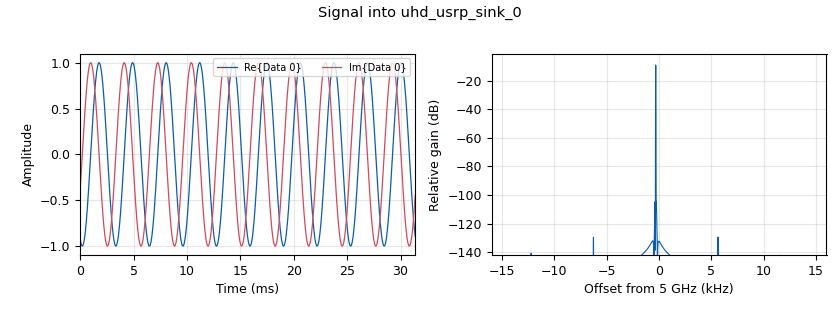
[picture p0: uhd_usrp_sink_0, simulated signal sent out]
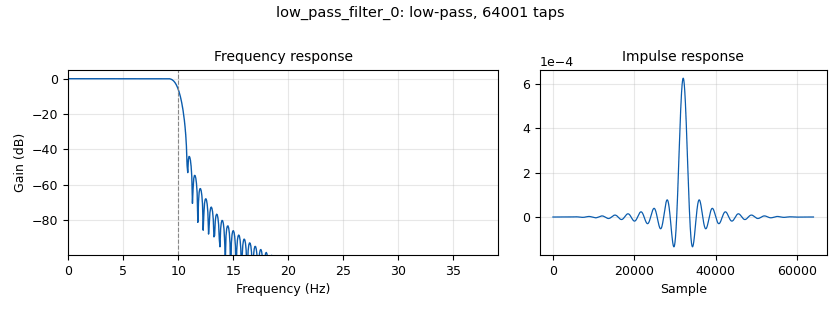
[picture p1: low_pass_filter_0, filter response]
options:
  parameters:
    generate_options: qt_gui
    id: Mugesn
    output_language: python
    title: Not titled yet
  states: {}

blocks:
- name: freq
  id: variable_qtgui_range
  parameters:
    start: 1e9
    step: 500e6
    stop: 8e9
    value: 5e9
  states: {}
- name: freq1
  id: variable_qtgui_range
  parameters:
    start: 1e9
    step: 500e6
    stop: 8e9
    value: 5e9
  states: {}
- name: gain
  id: variable_qtgui_range
  parameters:
    start: '10'
    step: '10'
    stop: '160'
    value: '60'
  states: {}
- name: samp_rate
  id: variable
  parameters:
    value: '32000'
  states: {}
- name: analog_sig_source_x_0
  id: analog_sig_source_x
  parameters:
    amp: '1'
    freq: freq
    offset: '0'
    phase: '0'
    samp_rate: samp_rate
    type: complex
    waveform: analog.GR_COS_WAVE
  states: {}
- name: blocks_multiply_xx_0
  id: blocks_multiply_xx
  parameters:
    type: complex
  states: {}
- name: epy_block_0
  id: epy_block
  parameters:
    _source_code: "\"\"\"\nEmbedded Python Block\nComplex IQ Frequency Estimator with FLOAT OUTPUT for QT GUI\n\"\"\"\n\nimport numpy as np\nfrom gnuradio import gr\n\n\nclass blk(gr.sync_block):\n    \"\"\"Complex frequency estimator with float output\"\"\"\n\n    def __init__(self, samp_rate=250000.0, avg_len=1000):\n        gr.sync_block.__init__(\n            self,\n            name=\"Complex Frequency Estimator\",\n            in_sig=[np.complex64],\n            out_sig=[np.float32]   # FLOAT OUTPUT\n        )\n\n        self.samp_rate = float(samp_rate)\n        self.avg_len = int(avg_len)\n\n        self.prev_sample = 0+0j\n        self.phase_buffer = np.zeros(self.avg_len, dtype=np.float32)\n        self.buf_idx = 0\n        self.last_freq = 0.0\n\n    def work(self, input_items, output_items):\n        in0 = input_items[0]\n        out = output_items[0]\n\n        out_idx = 0\n\n        for sample in in0:\n            if self.prev_sample != 0:\n                phase_diff = np.angle(sample * np.conj(self.prev_sample))\n                self.phase_buffer[self.buf_idx] = phase_diff\n                self.buf_idx += 1\n\n                if self.buf_idx >= self.avg_len:\n                    avg_phase = np.mean(self.phase_buffer)\n                    self.last_freq = (avg_phase * self.samp_rate) / (2.0 * np.pi)\n                    self.buf_idx = 0\n\n            self.prev_sample = sample\n\n            # Output latest frequency continuously\n            out[out_idx] = self.last_freq\n            out_idx += 1\n\n        return out_idx\n\n"
    avg_len: '1000'
    samp_rate: '250000.0'
  states: {}
- name: low_pass_filter_0
  id: low_pass_filter
  parameters:
    cutoff_freq: '10'
    gain: '1'
    interp: '1'
    samp_rate: samp_rate
    type: interp_fir_filter_ccf
    width: '1'
    win: window.WIN_HANN
  states: {}
- name: qtgui_freq_sink_x_0
  id: qtgui_freq_sink_x
  parameters:
    autoscale: 'True'
    bw: '1000'
    fc: '5'
    fftsize: '1024'
    grid: 'True'
    type: complex
  states: {}
- name: qtgui_number_sink_0
  id: qtgui_number_sink
  parameters:
    graph_type: qtgui.NUM_GRAPH_HORIZ
    max: '50'
    min: '-50'
    type: float
    update_time: '0.5'
  states: {}
- name: qtgui_time_sink_x_0
  id: qtgui_time_sink_x
  parameters:
    autoscale: 'True'
    size: '4096'
    srate: '1000'
    type: complex
    ymax: '3'
    ymin: '-3'
  states: {}
- name: qtgui_time_sink_x_1
  id: qtgui_time_sink_x
  parameters:
    autoscale: 'True'
    nconnections: '2'
    size: '2048'
    srate: samp_rate
    type: complex
  states: {}
- name: uhd_usrp_sink_0
  id: uhd_usrp_sink
  parameters:
    ant0: '"TX/RX"'
    center_freq0: freq1
    gain0: gain
    samp_rate: samp_rate
    sync: sync
    type: fc32
  states: {}
- name: uhd_usrp_source_0
  id: uhd_usrp_source
  parameters:
    ant0: '"RX2"'
    center_freq0: freq1
    gain0: '70'
    samp_rate: samp_rate
    sync: sync
    type: fc32
  states: {}

connections:
- [analog_sig_source_x_0, '0', blocks_multiply_xx_0, '0']
- [analog_sig_source_x_0, '0', qtgui_time_sink_x_1, '0']
- [analog_sig_source_x_0, '0', uhd_usrp_sink_0, '0']
- [blocks_multiply_xx_0, '0', low_pass_filter_0, '0']
- [epy_block_0, '0', qtgui_number_sink_0, '0']
- [low_pass_filter_0, '0', epy_block_0, '0']
- [low_pass_filter_0, '0', qtgui_freq_sink_x_0, '0']
- [low_pass_filter_0, '0', qtgui_time_sink_x_0, '0']
- [uhd_usrp_source_0, '0', blocks_multiply_xx_0, '1']
- [uhd_usrp_source_0, '0', qtgui_time_sink_x_1, '1']

metadata:
  file_format: 1
